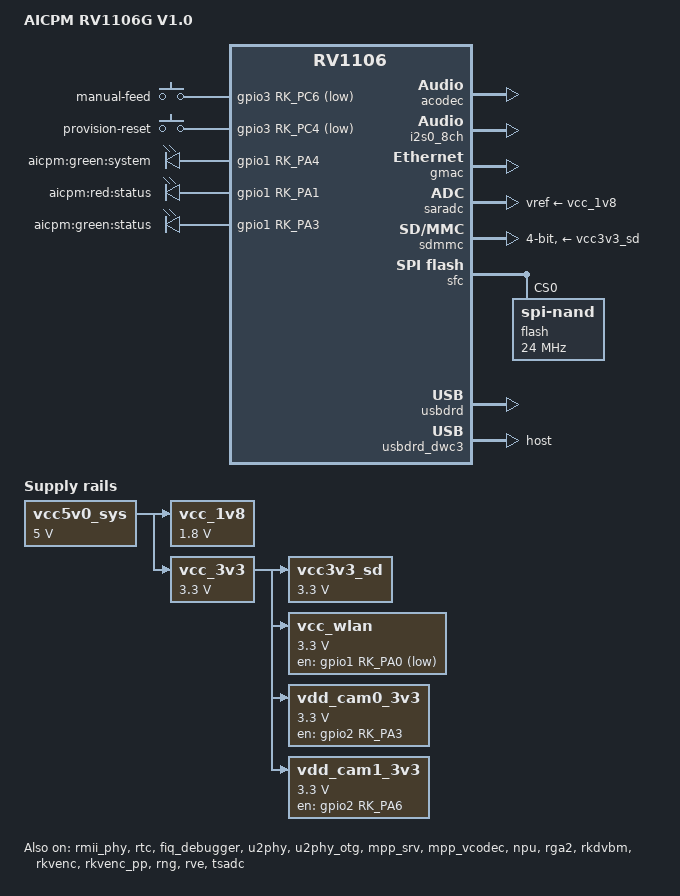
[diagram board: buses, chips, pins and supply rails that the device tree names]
// SPDX-License-Identifier: (GPL-2.0+ OR MIT)
/dts-v1/;

#include <dt-bindings/gpio/gpio.h>
#include <dt-bindings/input/input.h>
#include "rv1106.dtsi"
#include "rv1106g-aicpm-v1-camera.dtsi"

/ {
	model = "AICPM RV1106G V1.0";
	compatible = "aicpm,rv1106g-v1", "rockchip,rv1106";

	chosen {
		bootargs = "earlycon=uart8250,mmio32,0xff4c0000,115200n8 console=ttyFIQ0 snd_soc_core.prealloc_buffer_size_kbytes=16 coherent_pool=0 net.ifnames=0 biosdevname=0";
	};

	restart-poweroff { compatible = "restart-poweroff"; };

	vcc5v0_sys: vcc5v0-sys {
		compatible = "regulator-fixed"; regulator-name = "vcc5v0_sys"; regulator-always-on; regulator-boot-on;
		regulator-min-microvolt = <5000000>; regulator-max-microvolt = <5000000>;
	};
	vcc_1v8: vcc-1v8 {
		compatible = "regulator-fixed"; regulator-name = "vcc_1v8"; regulator-always-on; regulator-boot-on;
		regulator-min-microvolt = <1800000>; regulator-max-microvolt = <1800000>; vin-supply = <&vcc5v0_sys>;
	};
	vcc_3v3: vcc-3v3 {
		compatible = "regulator-fixed"; regulator-name = "vcc_3v3"; regulator-always-on; regulator-boot-on;
		regulator-min-microvolt = <3300000>; regulator-max-microvolt = <3300000>; vin-supply = <&vcc5v0_sys>;
	};
	vcc3v3_sd: vcc3v3-sd {
		compatible = "regulator-fixed"; regulator-name = "vcc3v3_sd"; regulator-always-on; regulator-boot-on;
		regulator-min-microvolt = <3300000>; regulator-max-microvolt = <3300000>; vin-supply = <&vcc_3v3>;
	};
	vcc_wlan: vcc-wlan {
		compatible = "regulator-fixed"; regulator-name = "vcc_wlan"; regulator-always-on; regulator-boot-on;
		regulator-min-microvolt = <3300000>; regulator-max-microvolt = <3300000>;
		gpio = <&gpio1 RK_PA0 GPIO_ACTIVE_LOW>; vin-supply = <&vcc_3v3>;
	};
	vdd_cam0_3v3: vdd-cam0-3v3 {
		compatible = "regulator-fixed"; regulator-name = "vdd_cam0_3v3";
		regulator-min-microvolt = <3300000>; regulator-max-microvolt = <3300000>; enable-active-high;
		gpio = <&gpio2 RK_PA3 GPIO_ACTIVE_HIGH>; vin-supply = <&vcc_3v3>;
	};
	vdd_cam1_3v3: vdd-cam1-3v3 {
		compatible = "regulator-fixed"; regulator-name = "vdd_cam1_3v3";
		regulator-min-microvolt = <3300000>; regulator-max-microvolt = <3300000>; enable-active-high;
		gpio = <&gpio2 RK_PA6 GPIO_ACTIVE_HIGH>; vin-supply = <&vcc_3v3>;
	};

	gpio_keys: gpio-keys {
		compatible = "gpio-keys";
		manual-feed { label = "manual-feed"; linux,code = <KEY_F13>; gpios = <&gpio3 RK_PC6 GPIO_ACTIVE_LOW>; debounce-interval = <30>; };
		provision-reset { label = "provision-reset"; linux,code = <KEY_SETUP>; gpios = <&gpio3 RK_PC4 GPIO_ACTIVE_LOW>; debounce-interval = <30>; };
	};
	leds {
		compatible = "gpio-leds";
		system-green { label = "aicpm:green:system"; gpios = <&gpio1 RK_PA4 GPIO_ACTIVE_HIGH>; default-state = "off"; };
		status-red { label = "aicpm:red:status"; gpios = <&gpio1 RK_PA1 GPIO_ACTIVE_HIGH>; default-state = "off"; };
		status-green { label = "aicpm:green:status"; gpios = <&gpio1 RK_PA3 GPIO_ACTIVE_HIGH>; default-state = "off"; };
	};
	acodec_sound: acodec-sound {
		compatible = "simple-audio-card"; simple-audio-card,name = "rv1106-aicpm-acodec";
		simple-audio-card,format = "i2s"; simple-audio-card,mclk-fs = <256>;
		simple-audio-card,cpu { sound-dai = <&i2s0_8ch>; };
		simple-audio-card,codec { sound-dai = <&acodec>; };
	};
};

&acodec { #sound-dai-cells = <0>; pa-ctl-gpios = <&gpio4 RK_PA7 GPIO_ACTIVE_HIGH>; status = "okay"; };
&i2s0_8ch { #sound-dai-cells = <0>; status = "okay"; };
&gmac { status = "okay"; };
&rmii_phy { status = "okay"; };
&rtc { status = "okay"; };
&saradc { vref-supply = <&vcc_1v8>; status = "okay"; };
&sdmmc {
	max-frequency = <50000000>; no-1-8-v; no-sdio; no-mmc; bus-width = <4>; cap-sd-highspeed; disable-wp;
	pinctrl-names = "normal", "idle";
	pinctrl-0 = <&sdmmc0_clk &sdmmc0_cmd &sdmmc0_det &sdmmc0_bus4>;
	pinctrl-1 = <&sdmmc0_idle_pins &sdmmc0_det>;
	vmmc-supply = <&vcc3v3_sd>; status = "okay";
};
&sfc {
	status = "okay";
	flash@0 { compatible = "spi-nand"; reg = <0>; spi-max-frequency = <24000000>; spi-rx-bus-width = <4>; spi-tx-bus-width = <1>; };
};
&fiq_debugger { rockchip,baudrate = <115200>; rockchip,irq-mode-enable = <1>; status = "okay"; };
&u2phy { status = "okay"; };
&u2phy_otg { status = "okay"; };
&usbdrd { status = "okay"; };
&usbdrd_dwc3 { dr_mode = "host"; status = "okay"; };
&mpp_srv { status = "okay"; };
&mpp_vcodec { status = "okay"; };
&npu { status = "okay"; };
&rga2 { status = "okay"; };
&rkdvbm { status = "okay"; };
&rkvenc { status = "okay"; };
&rkvenc_pp { status = "okay"; };
&rng { status = "okay"; };
&rve { status = "okay"; };
&tsadc { status = "okay"; };
&pinctrl {
	aicpm_gated_inputs {
		j9_feed_detect_gpio: j9-feed-detect-gpio { rockchip,pins = <0 RK_PA4 RK_FUNC_GPIO &pcfg_pull_none>; };
		j11_bin_present_gpio: j11-bin-present-gpio { rockchip,pins = <1 RK_PB0 RK_FUNC_GPIO &pcfg_pull_none>; };
	};
};
&pwm5 { status = "disabled"; };
&pwm6 { status = "disabled"; };
